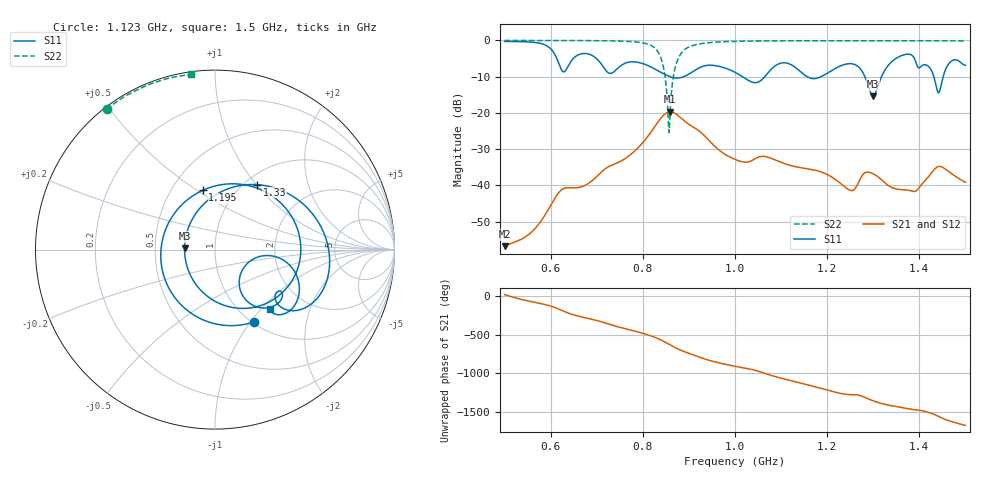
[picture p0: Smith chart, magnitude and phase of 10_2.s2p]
! TOUCHSTONE file generated by CST MICROWAVE STUDIO
! Date and time: Thu Feb 11 19:32:05 2021
! Project name: Scenario_1_Planar_Body_Tissue_Out_of_Line.cst
! Parameters = {L_HA=400; Ltissue=1000; MT=2.54; Rad_Dielectric=30; Rad_Lower=7.3; Rad_Upper=30; Wtissue=1000; a_HA=580; a_WG=246; b_HA=500; b_WG=121; c_HA=0; c_WG=187; d_feed=85; dx1=346; dy1=-190.3; h_feed=15; h_lower=18; h_upper=40; hfat=3; hgap=25; hmuscle=50; hskin=1.5}
! Header version: 2018
! Port assignment regex: !\s*Touchstone port\s*([0-9]+)\s*=\s*(CST MWS port|CST DS port)\s*([0-9]+|Zmin|Zmax)\s*\(\"(.*)\"\)(\s*mode\s*([0-9]+))?.*
! Touchstone port assignment:
! Touchstone port 1 = CST MWS port 1 ("")
! Touchstone port 2 = CST MWS port 2 ("")
# GHz S DB R 50
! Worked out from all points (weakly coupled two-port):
!   1003 points, 500 MHz to 1.5 GHz, reference 50 ohm
!   highest |S21| = -19.71 dB at 859 MHz (marker M1); lowest = -56.8 dB at 500 MHz (marker M2)
!   lowest |S11| = -15.4 dB at 1.3 GHz (marker M3), VSWR 1.41, Z = 35.5 + j0.46 ohm
!   |S11| at or under -10 dB: 1.016 GHz to 1.065 GHz (48.61 MHz wide, 4.67 % of centre); 1.157 GHz to 1.187 GHz (30.17 MHz wide, 2.58 % of centre); 1.282 GHz to 1.318 GHz (36.2 MHz wide, 2.78 % of centre) (the widest 3 of 5)
!   |S22| runs from -25.4 to 0.0 dB; largest |S21 - S12| = 6.7e-06
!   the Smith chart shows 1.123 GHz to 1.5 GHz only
!   S11 on the Smith chart (normalised r, x): 1.123 GHz: 1.02, -1.04; 1.195 GHz: 0.71, +0.53; 1.33 GHz: 1.13, +1.01; 1.5 GHz: 1.35, -1.13
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0.5  -0.27 -121.6  -56.78 19.7  -56.78 19.7  -0.01 151.1
0.667  -3.68 157.5  -40.40 90.5  -40.40 90.5  -0.04 138.4
0.718  -7.97 22.2  -35.46 12.3  -35.46 12.3  -0.09 132.5
0.741  -8.22 -94.8  -33.99 -29.9  -33.99 -29.9  -0.14 129.0
0.769  -6.01 178.0  -31.94 -73.1  -31.94 -73.1  -0.27 123.3
0.834  -8.46 34.2  -22.31 165.8  -22.31 165.8  -3.38 82.1
0.859  -9.99 -30.6  -19.71 87.9  -19.71 87.9  -20.37 -110.3
0.88  -10.33 -90.9  -21.11 24.7  -21.11 24.7  -4.19 -173.8
0.939  -6.89 86.0  -27.00 -103.5  -27.00 -103.5  -0.68 151.6
1  -8.79 -63.5  -32.83 170.7  -32.83 170.7  -0.25 140.1
1.042  -11.64 -175.9  -32.75 121.8  -32.75 121.8  -0.18 135.1
1.077  -8.18 75.0  -32.46 55.7  -32.46 55.7  -0.14 131.8
1.123  -6.79 -61.6  -34.60 -17.6  -34.60 -17.6  -0.11 127.7
1.167  -10.50 172.6  -35.63 -84.2  -35.63 -84.2  -0.09 124.2
1.195  -9.43 101.7  -36.69 -130.0  -36.69 -130.0  -0.09 122.0
1.251  -6.41 -1.7  -41.41 163.2  -41.41 163.2  -0.09 117.7
1.3  -15.41 177.9  -36.84 83.4  -36.84 83.4  -0.08 114.1
1.33  -7.32 57.2  -39.80 31.1  -39.80 31.1  -0.08 111.8
1.334  -6.68 49.4  -40.16 26.5  -40.16 26.5  -0.08 111.5
1.388  -4.68 -34.8  -41.68 -31.1  -41.68 -31.1  -0.09 107.3
1.442  -14.46 -31.8  -34.79 -118.7  -34.79 -118.7  -0.11 102.9
1.5  -6.87 -47.2  -39.16 124.8  -39.16 124.8  -0.13 98.0
